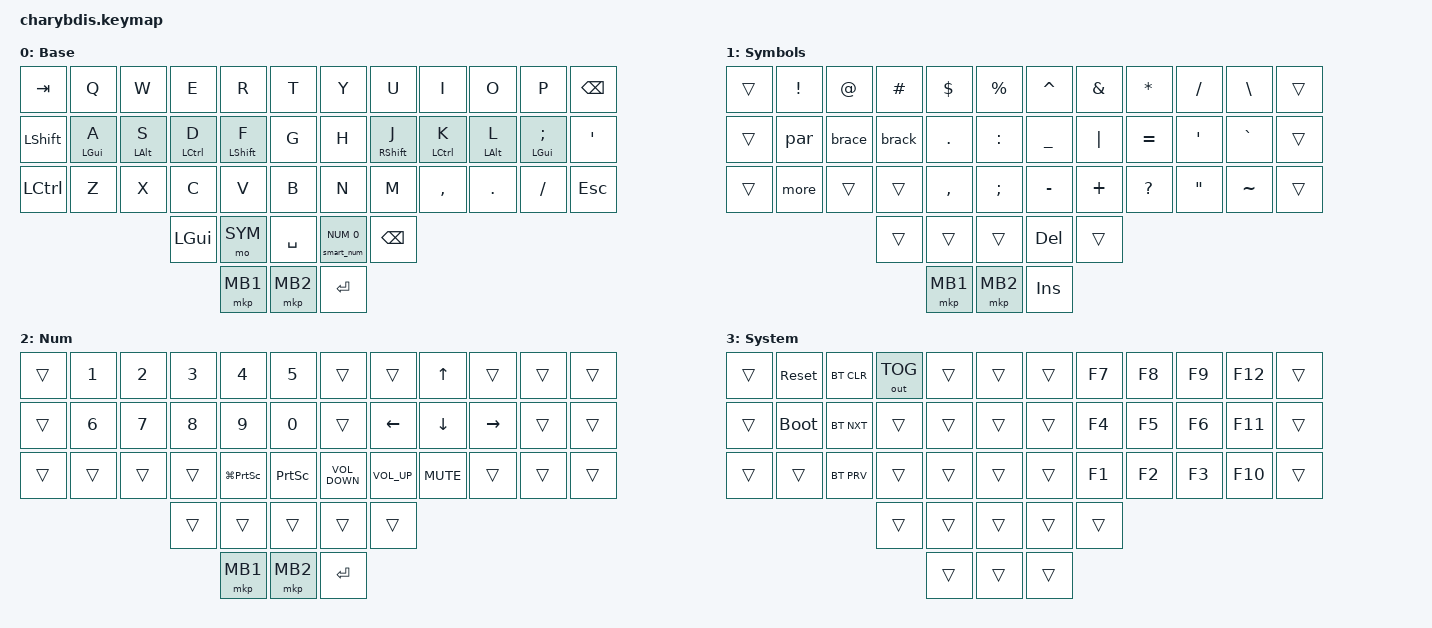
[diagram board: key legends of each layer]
#include <input/processors.dtsi>
#include <zephyr/dt-bindings/input/input-event-codes.h>

#include <behaviors.dtsi>
#include <behaviors/num_word.dtsi>
#include <dt-bindings/zmk/bt.h>
#include <dt-bindings/zmk/keys.h>
#include <dt-bindings/zmk/mouse.h>
#include <dt-bindings/zmk/outputs.h>
#include <dt-bindings/zmk/pointing.h>

#include "zmk-helpers/helper.h"
#include "zmk-helpers/unicode-chars/french.dtsi"
#include "zmk-helpers/unicode-chars/currency.dtsi"

// Key position labels for 3x6 + 8-thumb Charybdis (44 keys)
#define LT5  0
#define LT4  1
#define LT3  2
#define LT2  3
#define LT1  4
#define LT0  5
#define RT0  6
#define RT1  7
#define RT2  8
#define RT3  9
#define RT4 10
#define RT5 11

#define LM5 12
#define LM4 13
#define LM3 14
#define LM2 15
#define LM1 16
#define LM0 17
#define RM0 18
#define RM1 19
#define RM2 20
#define RM3 21
#define RM4 22
#define RM5 23

#define LB5 24
#define LB4 25
#define LB3 26
#define LB2 27
#define LB1 28
#define LB0 29
#define RB0 30
#define RB1 31
#define RB2 32
#define RB3 33
#define RB4 34
#define RB5 35

#define LH2 36
#define LH1 37
#define LH0 38
#define RH0 39
#define RH1 40
#define LH4 41
#define LH3 42
#define RH2 43

#define KEYS_L LT5 LT4 LT3 LT2 LT1 LT0 LM5 LM4 LM3 LM2 LM1 LM0 LB5 LB4 LB3 LB2 LB1 LB0
#define KEYS_R RT0 RT1 RT2 RT3 RT4 RT5 RM0 RM1 RM2 RM3 RM4 RM5 RB0 RB1 RB2 RB3 RB4 RB5
#define THUMBS LH4 LH3 LH2 LH1 LH0 RH0 RH1 RH2

#define BASE 0
#define SYM 1
#define NUM 2
#define SYSTEM 3

#undef ALL
#define ALL BASE SYM NUM SYSTEM

#define QUICK_TAP_MS 175
#define SLOW_TAP 300

ZMK_TAP_DANCE(copy_cut, bindings = <&kp LC(INS)>, <&kp LC(X)>;
              tapping-term-ms = <QUICK_TAP_MS>;)

ZMK_COMBO(copy_cut, &copy_cut,     LB2 LB3, ALL)  // copy on tap, cut on double-tap, active on all layers
ZMK_COMBO(paste,    &kp LC(V),     LB1 LB2, ALL)
ZMK_COMBO(undo,     &kp LC(Z),     LB4 LB3, ALL)
ZMK_COMBO(redo,     &kp LC(LS(Z)), LB4 LB1, ALL)

ZMK_HOLD_TAP(hml,
    flavor = "balanced";
    tapping-term-ms = <200>;
    require-prior-idle-ms = <QUICK_TAP_MS>;
    hold-trigger-key-positions = <KEYS_R THUMBS>;
    hold-trigger-on-release;
    bindings = <&kp>, <&kp>;
)

ZMK_HOLD_TAP(hmr,
    flavor = "balanced";
    tapping-term-ms = <200>;
    require-prior-idle-ms = <QUICK_TAP_MS>;
    hold-trigger-key-positions = <KEYS_L THUMBS>;
    hold-trigger-on-release;
    bindings = <&kp>, <&kp>;
)

#define SMART_NUM &smart_num NUM 0
ZMK_HOLD_TAP(smart_num, bindings = <&mo>, <&num_dance>; flavor = "balanced";
             tapping-term-ms = <200>; quick-tap-ms = <QUICK_TAP_MS>;)
ZMK_TAP_DANCE(num_dance, bindings = <&num_word NUM>, <&sl NUM>;
              tapping-term-ms = <200>;)

&lt {
    tapping-term-ms = <200>;
    flavor = "balanced";
    quick-tap-ms = <150>;
};

/ {
    conditional_layers {
        compatible = "zmk,conditional-layers";

        adjust_layer {
            if-layers = <SYM NUM>;
            then-layer = <SYSTEM>;
        };
    };

    behaviors {
        par: par {
            compatible = "zmk,behavior-tap-dance";
            display-name = "Parenthesis left and right";
            #binding-cells = <0>;
            tapping-term-ms = <SLOW_TAP>;
            bindings = <&kp LEFT_PARENTHESIS>, <&kp RIGHT_PARENTHESIS>;
        };
        brack: brack {
            compatible = "zmk,behavior-tap-dance";
            display-name = "Brackets left and right";
            #binding-cells = <0>;
            tapping-term-ms = <SLOW_TAP>;
            bindings = <&kp LEFT_BRACKET>, <&kp RIGHT_BRACKET>;
        };
        brace: brace {
            compatible = "zmk,behavior-tap-dance";
            display-name = "Braces left and right";
            #binding-cells = <0>;
            tapping-term-ms = <SLOW_TAP>;
            bindings = <&kp LEFT_BRACE>, <&kp RIGHT_BRACE>;
        };
        more: more {
            compatible = "zmk,behavior-tap-dance";
            display-name = "greater and less than";
            #binding-cells = <0>;
            tapping-term-ms = <SLOW_TAP>;
            bindings = <&kp LESS_THAN>, <&kp GREATER_THAN>;
        };
    };

    combos {
        compatible = "zmk,combos";

        backspace {
            bindings = <&kp BACKSPACE>;
            key-positions = <RM1 RM2>;
        };

        delete {
            bindings = <&kp DELETE>;
            key-positions = <RM1 RM0>;
        };

        goequal {
            bindings = <&goequal>;
            key-positions = <LM1 LM2>;
        };

        saveandquit {
            bindings = <&savequit>;
            key-positions = <LT3 LT4>;
        };

        save {
            bindings = <&save>;
            key-positions = <LT3 LT2>;
        };

        tab {
            bindings = <&tab>;
            key-positions = <LM3 LM2>;
        };

        escape {
            bindings = <&escape>;
            key-positions = <LM3 LM4>;
        };
    };

    macros {
        goequal: goequal {
            compatible = "zmk,behavior-macro";
            #binding-cells = <0>;
            bindings = <&kp COLON &kp EQUAL>;
        };

        escape: escape {
            compatible = "zmk,behavior-macro";
            #binding-cells = <0>;
            bindings = <&kp ESC>;
        };

        tab: tab {
            compatible = "zmk,behavior-macro";
            #binding-cells = <0>;
            bindings = <&kp TAB>;
        };

        savequit: savequit {
            compatible = "zmk,behavior-macro";
            #binding-cells = <0>;
            bindings = <&kp ESC &kp COLON &kp W &kp Q>;
        };

        save: save {
            compatible = "zmk,behavior-macro";
            #binding-cells = <0>;
            bindings = <&kp ESC &kp COLON &kp W>;
        };
    };

    keymap {
        compatible = "zmk,keymap";

        default_layer {
            display-name = "Base";
            bindings = <
&kp TAB     &kp Q        &kp W        &kp E         &kp R         &kp T        &kp Y      &kp U         &kp I         &kp O        &kp P            &kp BSPC
&kp LSHIFT  &hml LGUI A  &hml LALT S  &hml LCTRL D  &hml LSHFT F  &kp G        &kp H      &hmr RSHFT J  &hmr LCTRL K  &hmr LALT L  &hmr LGUI SEMI   &kp SQT
&kp LCTRL   &kp Z        &kp X        &kp C         &kp V         &kp B        &kp N      &kp M         &kp COMMA     &kp DOT      &kp FSLH         &kp ESC
                                      &kp LGUI      &mo SYM       &kp SPACE    SMART_NUM  &kp BSPC
                                                    &mkp MB1      &mkp MB2     &kp ENTER
            >;
        };

        sym_layer {
            display-name = "Symbols";
            bindings = <
&trans  &kp EXCL  &kp AT  &kp POUND  &kp DOLLAR  &kp PERCENT    &kp CARET  &kp AMPERSAND  &kp ASTRK     &kp SLASH          &kp BACKSLASH  &trans
&trans  &par      &brace  &brack     &kp DOT     &kp COLON      &kp UNDER  &kp PIPE       &kp EQUAL     &kp SINGLE_QUOTE   &kp GRAVE      &trans
&trans  &more     &trans  &trans     &kp COMMA   &kp SEMI       &kp MINUS  &kp PLUS       &kp QUESTION  &kp DOUBLE_QUOTES  &kp TILDE      &trans
                          &trans     &trans      &trans         &kp DEL    &trans
                                     &mkp MB1    &mkp MB2       &kp INS
            >;
        };

        num_layer {
            display-name = "Num";
            bindings = <
&trans  &kp N1  &kp N2  &kp N3  &kp N4         &kp N5       &trans             &trans           &kp UP      &trans     &trans  &trans
&trans  &kp N6  &kp N7  &kp N8  &kp N9         &kp N0       &trans             &kp LEFT         &kp DOWN    &kp RIGHT  &trans  &trans
&trans  &trans  &trans  &trans  &kp LG(PSCRN)  &kp PSCRN    &kp C_VOLUME_DOWN  &kp C_VOLUME_UP  &kp C_MUTE  &trans     &trans  &trans
                        &trans  &trans         &trans       &trans             &trans
                                &mkp MB1       &mkp MB2     &kp RET
            >;
        };

        system_layer {
            display-name = "System";
            bindings = <
&trans  &sys_reset   &bt BT_CLR  &out OUT_TOG  &trans  &trans    &trans  &kp F7  &kp F8  &kp F9  &kp F12  &trans
&trans  &bootloader  &bt BT_NXT  &trans        &trans  &trans    &trans  &kp F4  &kp F5  &kp F6  &kp F11  &trans
&trans  &trans       &bt BT_PRV  &trans        &trans  &trans    &trans  &kp F1  &kp F2  &kp F3  &kp F10  &trans
                                 &trans        &trans  &trans    &trans  &trans
                                               &trans  &trans    &trans
            >;
        };
    };
};
